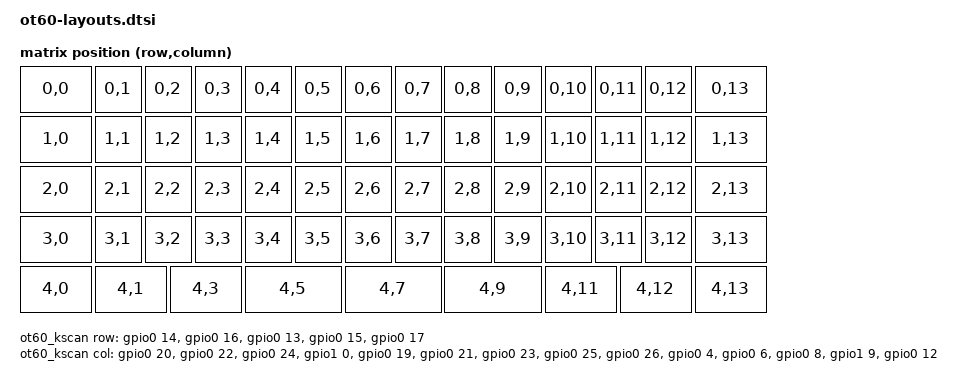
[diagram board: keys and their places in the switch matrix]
/*
 * OT60 PCB 1.0 (7fbe800), checked against the KiCad PCB and KLE layout.
 * Include from an nRF52840 board DTS. Positions are in keymap order.
 */
#include <dt-bindings/gpio/gpio.h>
#include <dt-bindings/zmk/matrix_transform.h>
#include <physical_layouts.dtsi>

/ {
    chosen {
        zmk,kscan = &ot60_kscan;
        zmk,physical-layout = &ot60_layout;
    };

    ot60_kscan: ot60-kscan {
        compatible = "zmk,kscan-gpio-matrix";
        diode-direction = "col2row";
        wakeup-source;

        row-gpios =
            <&gpio0 14 (GPIO_ACTIVE_HIGH | GPIO_PULL_DOWN)>,
            <&gpio0 16 (GPIO_ACTIVE_HIGH | GPIO_PULL_DOWN)>,
            <&gpio0 13 (GPIO_ACTIVE_HIGH | GPIO_PULL_DOWN)>,
            <&gpio0 15 (GPIO_ACTIVE_HIGH | GPIO_PULL_DOWN)>,
            <&gpio0 17 (GPIO_ACTIVE_HIGH | GPIO_PULL_DOWN)>;

        col-gpios =
            <&gpio0 20 GPIO_ACTIVE_HIGH>,
            <&gpio0 22 GPIO_ACTIVE_HIGH>,
            <&gpio0 24 GPIO_ACTIVE_HIGH>,
            <&gpio1  0 GPIO_ACTIVE_HIGH>,
            <&gpio0 19 GPIO_ACTIVE_HIGH>,
            <&gpio0 21 GPIO_ACTIVE_HIGH>,
            <&gpio0 23 GPIO_ACTIVE_HIGH>,
            <&gpio0 25 GPIO_ACTIVE_HIGH>,
            <&gpio0 26 GPIO_ACTIVE_HIGH>,
            <&gpio0  4 GPIO_ACTIVE_HIGH>,
            <&gpio0  6 GPIO_ACTIVE_HIGH>,
            <&gpio0  8 GPIO_ACTIVE_HIGH>,
            <&gpio1  9 GPIO_ACTIVE_HIGH>,
            <&gpio0 12 GPIO_ACTIVE_HIGH>;
    };

    ot60_transform: ot60-transform {
        compatible = "zmk,matrix-transform";
        rows = <5>;
        columns = <14>;

        map = <
            RC(0,0) RC(0,1) RC(0,2) RC(0,3) RC(0,4) RC(0,5) RC(0,6)
            RC(0,7) RC(0,8) RC(0,9) RC(0,10) RC(0,11) RC(0,12) RC(0,13)

            RC(1,0) RC(1,1) RC(1,2) RC(1,3) RC(1,4) RC(1,5) RC(1,6)
            RC(1,7) RC(1,8) RC(1,9) RC(1,10) RC(1,11) RC(1,12) RC(1,13)

            RC(2,0) RC(2,1) RC(2,2) RC(2,3) RC(2,4) RC(2,5) RC(2,6)
            RC(2,7) RC(2,8) RC(2,9) RC(2,10) RC(2,11) RC(2,12) RC(2,13)

            RC(3,0) RC(3,1) RC(3,2) RC(3,3) RC(3,4) RC(3,5) RC(3,6)
            RC(3,7) RC(3,8) RC(3,9) RC(3,10) RC(3,11) RC(3,12) RC(3,13)

            RC(4,0) RC(4,1) RC(4,3) RC(4,5) RC(4,7) RC(4,9) RC(4,11)
            RC(4,12) RC(4,13)
        >;
    };

    ot60_layout: ot60-layout {
        compatible = "zmk,physical-layout";
        display-name = "OT60";
        kscan = <&ot60_kscan>;
        transform = <&ot60_transform>;

        /* Width, height, x, y, rotation, rotation origin x/y. */
        keys =
            <&key_physical_attrs 150 100    0   0 0 0 0>,
            <&key_physical_attrs 100 100  150   0 0 0 0>,
            <&key_physical_attrs 100 100  250   0 0 0 0>,
            <&key_physical_attrs 100 100  350   0 0 0 0>,
            <&key_physical_attrs 100 100  450   0 0 0 0>,
            <&key_physical_attrs 100 100  550   0 0 0 0>,
            <&key_physical_attrs 100 100  650   0 0 0 0>,
            <&key_physical_attrs 100 100  750   0 0 0 0>,
            <&key_physical_attrs 100 100  850   0 0 0 0>,
            <&key_physical_attrs 100 100  950   0 0 0 0>,
            <&key_physical_attrs 100 100 1050   0 0 0 0>,
            <&key_physical_attrs 100 100 1150   0 0 0 0>,
            <&key_physical_attrs 100 100 1250   0 0 0 0>,
            <&key_physical_attrs 150 100 1350   0 0 0 0>,

            <&key_physical_attrs 150 100    0 100 0 0 0>,
            <&key_physical_attrs 100 100  150 100 0 0 0>,
            <&key_physical_attrs 100 100  250 100 0 0 0>,
            <&key_physical_attrs 100 100  350 100 0 0 0>,
            <&key_physical_attrs 100 100  450 100 0 0 0>,
            <&key_physical_attrs 100 100  550 100 0 0 0>,
            <&key_physical_attrs 100 100  650 100 0 0 0>,
            <&key_physical_attrs 100 100  750 100 0 0 0>,
            <&key_physical_attrs 100 100  850 100 0 0 0>,
            <&key_physical_attrs 100 100  950 100 0 0 0>,
            <&key_physical_attrs 100 100 1050 100 0 0 0>,
            <&key_physical_attrs 100 100 1150 100 0 0 0>,
            <&key_physical_attrs 100 100 1250 100 0 0 0>,
            <&key_physical_attrs 150 100 1350 100 0 0 0>,

            <&key_physical_attrs 150 100    0 200 0 0 0>,
            <&key_physical_attrs 100 100  150 200 0 0 0>,
            <&key_physical_attrs 100 100  250 200 0 0 0>,
            <&key_physical_attrs 100 100  350 200 0 0 0>,
            <&key_physical_attrs 100 100  450 200 0 0 0>,
            <&key_physical_attrs 100 100  550 200 0 0 0>,
            <&key_physical_attrs 100 100  650 200 0 0 0>,
            <&key_physical_attrs 100 100  750 200 0 0 0>,
            <&key_physical_attrs 100 100  850 200 0 0 0>,
            <&key_physical_attrs 100 100  950 200 0 0 0>,
            <&key_physical_attrs 100 100 1050 200 0 0 0>,
            <&key_physical_attrs 100 100 1150 200 0 0 0>,
            <&key_physical_attrs 100 100 1250 200 0 0 0>,
            <&key_physical_attrs 150 100 1350 200 0 0 0>,

            <&key_physical_attrs 150 100    0 300 0 0 0>,
            <&key_physical_attrs 100 100  150 300 0 0 0>,
            <&key_physical_attrs 100 100  250 300 0 0 0>,
            <&key_physical_attrs 100 100  350 300 0 0 0>,
            <&key_physical_attrs 100 100  450 300 0 0 0>,
            <&key_physical_attrs 100 100  550 300 0 0 0>,
            <&key_physical_attrs 100 100  650 300 0 0 0>,
            <&key_physical_attrs 100 100  750 300 0 0 0>,
            <&key_physical_attrs 100 100  850 300 0 0 0>,
            <&key_physical_attrs 100 100  950 300 0 0 0>,
            <&key_physical_attrs 100 100 1050 300 0 0 0>,
            <&key_physical_attrs 100 100 1150 300 0 0 0>,
            <&key_physical_attrs 100 100 1250 300 0 0 0>,
            <&key_physical_attrs 150 100 1350 300 0 0 0>,

            <&key_physical_attrs 150 100    0 400 0 0 0>,
            <&key_physical_attrs 150 100  150 400 0 0 0>,
            <&key_physical_attrs 150 100  300 400 0 0 0>,
            <&key_physical_attrs 200 100  450 400 0 0 0>,
            <&key_physical_attrs 200 100  650 400 0 0 0>,
            <&key_physical_attrs 200 100  850 400 0 0 0>,
            <&key_physical_attrs 150 100 1050 400 0 0 0>,
            <&key_physical_attrs 150 100 1200 400 0 0 0>,
            <&key_physical_attrs 150 100 1350 400 0 0 0>;
    };
};
